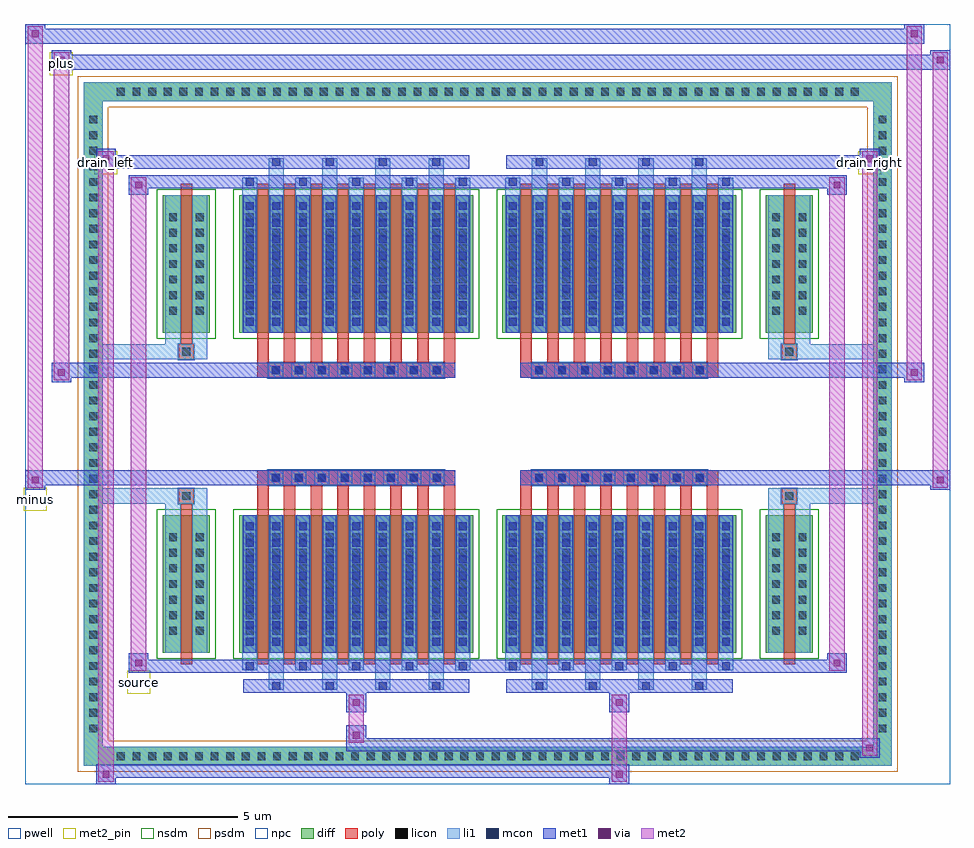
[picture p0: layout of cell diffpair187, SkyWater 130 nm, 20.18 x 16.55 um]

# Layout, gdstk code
import gdstk
lib = gdstk.Library(unit=1e-6, precision=5e-09)
def R(c, l, rs):  # rectangles x0, y0, x1, y1
    for r in rs: c.add(gdstk.rectangle(r[:2], r[2:], *l))
def A(c, l, x, y, w, h, nx, ny, dx, dy):  # array of equal rectangles
    R(c, l, [(x+i*dx, y+j*dy, x+i*dx+w, y+j*dy+h) for i in range(nx) for j in range(ny)])
def P(c, l, *ps):  # polygons
    for p in ps: c.add(gdstk.Polygon(p, *l))
pwell = (64, 44)
diff = (65, 20)
poly = (66, 20)
licon = (66, 44)
li1 = (67, 20)
mcon = (67, 44)
met1 = (68, 20)
via = (68, 44)
met2_pin = (69, 16)
met2 = (69, 20)
nsdm = (93, 44)
psdm = (94, 20)
npc = (95, 20)

diffpair187 = lib.new_cell('diffpair187')
R(diffpair187, pwell, [(-10.07,-7.84,10.07,8.71), (-7.39,-6.03,-0.01,-0.805), (0.01,-6.03,7.39,-0.805), (-7.39,0.805,-0.01,6.03), (0.01,0.805,7.39,6.03)])
A(diffpair187, diff, -8.195, -7.44, 0.41, 0.41, 48, 2, 0.34, 14.47)
A(diffpair187, diff, -8.8, -6.835, 0.41, 0.41, 1, 40, 0, 0.34)
A(diffpair187, diff, 8.39, -6.835, 0.41, 0.41, 1, 40, 0, 0.34)
R(diffpair187, diff, [(-8.195,-7.44,8.195,-7.03), (-8.8,-6.835,-8.39,6.835), (8.39,-6.835,8.8,6.835), (-7.08,-4.985,-6.05,-1.985), (-5.41,-4.985,-0.32,-1.985), (0.32,-4.985,5.41,-1.985), (6.05,-4.985,7.08,-1.985), (-7.08,1.985,-6.05,4.985), (-5.41,1.985,-0.32,4.985), (0.32,1.985,5.41,4.985), (6.05,1.985,7.08,4.985), (-8.195,7.03,8.195,7.44)])
P(diffpair187, diff, [(8.8,7.44),(-8.8,7.44),(-8.8,-7.03),(-8.39,-7.03),(-8.39,7.03),(8.39,7.03),(8.39,-7.03),(-8.39,-7.03),(-8.8,-7.03),(-8.8,-7.44),(8.8,-7.44)])
A(diffpair187, poly, -5.02, -5.235, 0.25, 3.5, 8, 2, 0.58, 6.97)
A(diffpair187, poly, 0.71, -5.235, 0.25, 3.5, 8, 2, 0.58, 6.97)
A(diffpair187, poly, -5.02, -1.735, 0.25, 0.4, 8, 2, 0.58, 3.07)
A(diffpair187, poly, 0.71, -1.735, 0.25, 0.4, 8, 2, 0.58, 3.07)
A(diffpair187, poly, -4.78, -1.335, 0.33, 0.33, 8, 2, 0.5, 2.34)
A(diffpair187, poly, 0.95, -1.335, 0.33, 0.33, 8, 2, 0.5, 2.34)
R(diffpair187, poly, [(-6.69,-5.235,-6.44,-1.735), (6.44,-5.235,6.69,-1.735), (-6.73,-1.735,-6.4,-1.405), (-6.73,-1.735,-6.4,-1.405), (6.4,-1.735,6.73,-1.405), (6.4,-1.735,6.73,-1.405), (-5.02,-1.335,-0.71,-1.005), (0.71,-1.335,5.02,-1.005), (-5.02,1.005,-0.71,1.335), (0.71,1.005,5.02,1.335), (-6.73,1.405,-6.4,1.735), (-6.73,1.405,-6.4,1.735), (6.4,1.405,6.73,1.735), (6.4,1.405,6.73,1.735), (-6.69,1.735,-6.44,5.235), (6.44,1.735,6.69,5.235)])
A(diffpair187, licon, -8.075, -7.32, 0.17, 0.17, 48, 2, 0.34, 14.47)
A(diffpair187, licon, -8.68, -6.715, 0.17, 0.17, 1, 40, 0, 0.34)
A(diffpair187, licon, 8.51, -6.715, 0.17, 0.17, 1, 40, 0, 0.34)
A(diffpair187, licon, -6.94, -4.59, 0.17, 0.17, 1, 7, 0, 0.34)
A(diffpair187, licon, -6.36, -4.59, 0.17, 0.17, 1, 7, 0, 0.34)
A(diffpair187, licon, -5.27, -4.59, 0.17, 0.17, 9, 7, 0.58, 0.34)
A(diffpair187, licon, 0.46, -4.59, 0.17, 0.17, 9, 7, 0.58, 0.34)
A(diffpair187, licon, 6.19, -4.59, 0.17, 0.17, 1, 7, 0, 0.34)
A(diffpair187, licon, 6.77, -4.59, 0.17, 0.17, 1, 7, 0, 0.34)
A(diffpair187, licon, -4.7, -1.255, 0.17, 0.17, 8, 2, 0.5, 2.34)
A(diffpair187, licon, 1.03, -1.255, 0.17, 0.17, 8, 2, 0.5, 2.34)
A(diffpair187, licon, -6.94, 2.38, 0.17, 0.17, 1, 7, 0, 0.34)
A(diffpair187, licon, -6.36, 2.38, 0.17, 0.17, 1, 7, 0, 0.34)
A(diffpair187, licon, -5.27, 2.38, 0.17, 0.17, 9, 7, 0.58, 0.34)
A(diffpair187, licon, 0.46, 2.38, 0.17, 0.17, 9, 7, 0.58, 0.34)
A(diffpair187, licon, 6.19, 2.38, 0.17, 0.17, 1, 7, 0, 0.34)
A(diffpair187, licon, 6.77, 2.38, 0.17, 0.17, 1, 7, 0, 0.34)
R(diffpair187, licon, [(-6.65,-1.655,-6.48,-1.485), (6.48,-1.655,6.65,-1.485), (-6.65,1.485,-6.48,1.655), (6.48,1.485,6.65,1.655)])
A(diffpair187, li1, -8.155, -7.4, 0.33, 0.33, 48, 2, 0.34, 14.47)
A(diffpair187, li1, -8.76, -6.795, 0.33, 0.33, 1, 40, 0, 0.34)
A(diffpair187, li1, 8.43, -6.795, 0.33, 0.33, 1, 40, 0, 0.34)
A(diffpair187, li1, -4.77, -5.79, 0.33, 0.805, 4, 2, 1.16, 10.775)
A(diffpair187, li1, -4.69, -5.79, 0.17, 0.17, 4, 2, 1.16, 11.41)
A(diffpair187, li1, 0.96, -5.79, 0.33, 0.805, 4, 2, 1.16, 10.775)
A(diffpair187, li1, 1.04, -5.79, 0.17, 0.17, 4, 2, 1.16, 11.41)
A(diffpair187, li1, -5.35, -5.36, 0.33, 0.375, 5, 2, 1.16, 10.345)
A(diffpair187, li1, -5.27, -5.36, 0.17, 0.17, 5, 2, 1.16, 10.55)
A(diffpair187, li1, 0.38, -5.36, 0.33, 0.375, 5, 2, 1.16, 10.345)
A(diffpair187, li1, 0.46, -5.36, 0.17, 0.17, 5, 2, 1.16, 10.55)
A(diffpair187, li1, -5.35, -4.985, 0.33, 3, 9, 2, 0.58, 6.97)
A(diffpair187, li1, 0.38, -4.985, 0.33, 3, 9, 2, 0.58, 6.97)
A(diffpair187, li1, -5.27, -4.83, 0.17, 0.17, 9, 8, 0.58, 0.36)
A(diffpair187, li1, -5.27, -4.83, 0.17, 2.69, 9, 2, 0.58, 6.97)
A(diffpair187, li1, 0.46, -4.83, 0.17, 0.17, 9, 8, 0.58, 0.36)
A(diffpair187, li1, 0.46, -4.83, 0.17, 2.69, 9, 2, 0.58, 6.97)
A(diffpair187, li1, -7.02, -4.67, 0.33, 0.33, 1, 7, 0, 0.34)
A(diffpair187, li1, -6.44, -4.67, 0.33, 0.33, 1, 7, 0, 0.34)
A(diffpair187, li1, -5.35, -4.67, 0.33, 0.33, 9, 7, 0.58, 0.34)
A(diffpair187, li1, 0.38, -4.67, 0.33, 0.33, 9, 7, 0.58, 0.34)
A(diffpair187, li1, 6.11, -4.67, 0.33, 0.33, 1, 7, 0, 0.34)
A(diffpair187, li1, 6.69, -4.67, 0.33, 0.33, 1, 7, 0, 0.34)
A(diffpair187, li1, -4.78, -1.335, 0.33, 0.33, 8, 2, 0.5, 2.34)
A(diffpair187, li1, 0.95, -1.335, 0.33, 0.33, 8, 2, 0.5, 2.34)
A(diffpair187, li1, -5.27, 2.14, 0.17, 0.17, 9, 8, 0.58, 0.36)
A(diffpair187, li1, 0.46, 2.14, 0.17, 0.17, 9, 8, 0.58, 0.36)
A(diffpair187, li1, -7.02, 2.3, 0.33, 0.33, 1, 7, 0, 0.34)
A(diffpair187, li1, -6.44, 2.3, 0.33, 0.33, 1, 7, 0, 0.34)
A(diffpair187, li1, -5.35, 2.3, 0.33, 0.33, 9, 7, 0.58, 0.34)
A(diffpair187, li1, 0.38, 2.3, 0.33, 0.33, 9, 7, 0.58, 0.34)
A(diffpair187, li1, 6.11, 2.3, 0.33, 0.33, 1, 7, 0, 0.34)
A(diffpair187, li1, 6.69, 2.3, 0.33, 0.33, 1, 7, 0, 0.34)
R(diffpair187, li1, [(-8.8,-7.44,-8.39,-7.03), (-8.8,-7.44,-8.39,-7.03), (-8.39,-7.44,8.39,-7.03), (8.39,-7.44,8.8,-7.03), (8.39,-7.44,8.8,-7.03), (-8.8,-7.03,-8.39,7.03), (8.39,-7.03,8.8,7.03), (-7.02,-4.985,-6.69,-1.985), (-6.44,-4.985,-6.11,-1.985), (6.11,-4.985,6.44,-1.985), (6.69,-4.985,7.02,-1.985), (-7.02,-1.985,-6.69,-1.405), (-6.44,-1.985,-6.11,-1.405), (6.11,-1.985,6.44,-1.405), (6.69,-1.985,7.02,-1.405), (-8.8,-1.735,-6.73,-1.405), (-7.02,-1.735,-6.73,-1.405), (-6.73,-1.735,-6.4,-1.405), (-6.4,-1.735,-6.11,-1.405), (6.11,-1.735,6.4,-1.405), (6.4,-1.735,6.73,-1.405), (6.4,-1.735,8.8,-1.405), (6.73,-1.735,7.02,-1.405), (-8.8,1.405,-6.73,1.735), (-7.02,1.405,-6.73,1.735), (-7.02,1.405,-6.69,1.985), (-6.73,1.405,-6.4,1.735), (-6.44,1.405,-6.11,1.985), (-6.4,1.405,-6.11,1.735), (6.11,1.405,6.4,1.735), (6.11,1.405,6.44,1.985), (6.4,1.405,6.73,1.735), (6.4,1.405,8.8,1.735), (6.69,1.405,7.02,1.985), (6.73,1.405,7.02,1.735), (-7.02,1.985,-6.69,4.985), (-6.44,1.985,-6.11,4.985), (6.11,1.985,6.44,4.985), (6.69,1.985,7.02,4.985), (-8.8,7.03,-8.39,7.44), (-8.8,7.03,-8.39,7.44), (-8.39,7.03,8.39,7.44), (8.39,7.03,8.8,7.44), (8.39,7.03,8.8,7.44)])
A(diffpair187, mcon, -4.69, -5.79, 0.17, 0.17, 4, 2, 1.16, 11.41)
A(diffpair187, mcon, 1.04, -5.79, 0.17, 0.17, 4, 2, 1.16, 11.41)
A(diffpair187, mcon, -5.27, -5.36, 0.17, 0.17, 5, 2, 1.16, 10.55)
A(diffpair187, mcon, 0.46, -5.36, 0.17, 0.17, 5, 2, 1.16, 10.55)
A(diffpair187, mcon, -5.27, -4.83, 0.17, 0.17, 9, 8, 0.58, 0.36)
A(diffpair187, mcon, 0.46, -4.83, 0.17, 0.17, 9, 8, 0.58, 0.36)
A(diffpair187, mcon, -4.7, -1.255, 0.17, 0.17, 8, 2, 0.5, 2.34)
A(diffpair187, mcon, 1.03, -1.255, 0.17, 0.17, 8, 2, 0.5, 2.34)
A(diffpair187, mcon, -5.27, 2.14, 0.17, 0.17, 9, 8, 0.58, 0.36)
A(diffpair187, mcon, 0.46, 2.14, 0.17, 0.17, 9, 8, 0.58, 0.36)
A(diffpair187, met1, -4.75, -5.85, 0.29, 0.29, 4, 2, 1.16, 11.41)
A(diffpair187, met1, 0.98, -5.85, 0.29, 0.29, 4, 2, 1.16, 11.41)
A(diffpair187, met1, -5.33, -5.42, 0.29, 0.29, 5, 2, 1.16, 10.55)
A(diffpair187, met1, 0.4, -5.42, 0.29, 0.29, 5, 2, 1.16, 10.55)
A(diffpair187, met1, -5.33, -4.985, 0.29, 3, 9, 2, 0.58, 6.97)
A(diffpair187, met1, 0.4, -4.985, 0.29, 3, 9, 2, 0.58, 6.97)
A(diffpair187, met1, -5.33, -4.89, 0.29, 0.29, 9, 8, 0.58, 0.36)
A(diffpair187, met1, 0.4, -4.89, 0.29, 0.29, 9, 8, 0.58, 0.36)
A(diffpair187, met1, -4.76, -1.315, 0.29, 0.29, 8, 2, 0.5, 2.34)
A(diffpair187, met1, 0.97, -1.315, 0.29, 0.29, 8, 2, 0.5, 2.34)
A(diffpair187, met1, -5.33, 2.08, 0.29, 0.29, 9, 8, 0.58, 0.36)
A(diffpair187, met1, 0.4, 2.08, 0.29, 0.29, 9, 8, 0.58, 0.36)
R(diffpair187, met1, [(-8.53,-7.84,-8.1,-7.41), (2.65,-7.84,3.08,-7.41), (-8.53,-7.7,3.08,-7.41), (8.1,-7.27,8.53,-6.84), (-3.08,-7.13,8.53,-6.84), (-3.08,-6.99,-2.65,-6.56), (-3.08,-6.28,-2.65,-5.85), (2.65,-6.28,3.08,-5.85), (-5.33,-5.85,-0.4,-5.56), (0.4,-5.85,5.33,-5.56), (-7.82,-5.42,-7.39,-4.99), (-7.82,-5.42,-5.33,-5.13), (-5.33,-5.42,-0.4,-5.13), (-0.4,-5.42,0.4,-5.13), (0.4,-5.42,5.33,-5.13), (5.33,-5.42,7.82,-5.13), (7.39,-5.42,7.82,-4.99), (-10.07,-1.435,-9.64,-1.005), (9.64,-1.435,10.07,-1.005), (-10.07,-1.335,-0.71,-1.005), (-5.02,-1.335,-0.71,-1.005), (0.71,-1.335,5.02,-1.005), (0.71,-1.335,10.07,-1.005), (-9.5,0.905,-9.07,1.335), (9.07,0.905,9.5,1.335), (-9.5,1.005,-5.02,1.335), (-5.02,1.005,-0.71,1.335), (0.71,1.005,5.02,1.335), (5.02,1.005,9.5,1.335), (-7.82,4.99,-7.39,5.42), (7.39,4.99,7.82,5.42), (-7.82,5.13,-5.33,5.42), (-5.33,5.13,-0.4,5.42), (-0.4,5.13,0.4,5.42), (0.4,5.13,5.33,5.42), (5.33,5.13,7.82,5.42), (-8.53,5.56,-8.1,5.99), (-8.53,5.56,-5.33,5.85), (-5.33,5.56,-0.4,5.85), (0.4,5.56,5.33,5.85), (5.33,5.56,8.53,5.85), (8.1,5.56,8.53,5.99), (-9.5,7.71,-9.07,8.14), (-9.5,7.71,-7.39,8.04), (-7.39,7.71,7.39,8.04), (7.39,7.71,10.07,8.04), (9.64,7.71,10.07,8.14), (-10.07,8.28,-9.64,8.71), (-10.07,8.28,-7.39,8.61), (-7.39,8.28,7.39,8.61), (7.39,8.28,9.5,8.61), (9.07,8.28,9.5,8.71)])
R(diffpair187, via, [(-8.39,-7.7,-8.24,-7.55), (2.79,-7.7,2.94,-7.55), (8.24,-7.13,8.39,-6.98), (-2.94,-6.85,-2.79,-6.7), (-2.94,-6.14,-2.79,-5.99), (2.79,-6.14,2.94,-5.99), (-7.68,-5.28,-7.53,-5.13), (7.53,-5.28,7.68,-5.13), (-9.93,-1.295,-9.78,-1.145), (9.78,-1.295,9.93,-1.145), (-9.36,1.045,-9.21,1.195), (9.21,1.045,9.36,1.195), (-7.68,5.13,-7.53,5.28), (7.53,5.13,7.68,5.28), (-8.39,5.7,-8.24,5.85), (8.24,5.7,8.39,5.85), (-9.36,7.85,-9.21,8), (9.78,7.85,9.93,8), (-9.93,8.42,-9.78,8.57), (9.21,8.42,9.36,8.57)])
R(diffpair187, met2_pin, [(-7.855,-5.87,-7.355,-5.37), (-10.105,-1.885,-9.605,-1.385), (-8.565,5.44,-8.065,5.94), (8.065,5.44,8.565,5.94), (-9.535,7.59,-9.035,8.09)])
R(diffpair187, met2, [(-8.48,-7.79,-8.15,-7.46), (-8.48,-7.79,-8.15,5.94), (2.7,-7.79,3.03,-7.46), (2.7,-7.46,3.03,-6.23), (8.15,-7.22,8.48,-6.89), (8.15,-7.22,8.48,5.94), (-3.03,-6.94,-2.7,-6.61), (-3.03,-6.61,-2.7,-6.23), (-3.03,-6.23,-2.7,-5.9), (2.7,-6.23,3.03,-5.9), (-7.77,-5.37,-7.44,-5.04), (-7.77,-5.37,-7.44,5.37), (7.44,-5.37,7.77,-5.04), (7.44,-5.37,7.77,5.37), (-10.02,-1.385,-9.69,-1.055), (-10.02,-1.385,-9.69,8.66), (9.69,-1.385,10.02,-1.055), (9.69,-1.385,10.02,8.09), (-9.45,0.955,-9.12,1.285), (-9.45,0.955,-9.12,8.09), (9.12,0.955,9.45,1.285), (9.12,0.955,9.45,8.66), (-7.77,5.04,-7.44,5.37), (7.44,5.04,7.77,5.37), (-8.48,5.61,-8.15,5.94), (8.15,5.61,8.48,5.94), (-9.45,7.76,-9.12,8.09), (9.69,7.76,10.02,8.09), (-10.02,8.33,-9.69,8.66), (9.12,8.33,9.45,8.66)])
P(diffpair187, met2, [(10.02,-1.385),(10.02,-1.385),(10.02,-1.055),(10.02,-1.055)],
  [(10.02,7.76),(10.02,7.76),(10.02,8.09),(10.02,8.09)],
  [(-9.69,-1.385),(-9.69,-1.385),(-9.69,-1.055),(-9.69,-1.055)],
  [(-9.69,8.33),(-9.69,8.33),(-9.69,8.66),(-9.69,8.66)],
  [(9.45,0.955),(9.45,0.955),(9.45,1.285),(9.45,1.285)],
  [(9.45,8.33),(9.45,8.33),(9.45,8.66),(9.45,8.66)],
  [(-9.12,0.955),(-9.12,0.955),(-9.12,1.285),(-9.12,1.285)],
  [(-9.12,7.76),(-9.12,7.76),(-9.12,8.09),(-9.12,8.09)],
  [(-8.15,-7.79),(-8.15,-7.79),(-8.15,-7.46),(-8.15,-7.46)],
  [(-8.15,5.61),(-8.15,5.61),(-8.15,5.94),(-8.15,5.94)],
  [(8.48,-7.22),(8.48,-7.22),(8.48,-6.89),(8.48,-6.89)],
  [(8.48,5.61),(8.48,5.61),(8.48,5.94),(8.48,5.94)],
  [(-7.44,-5.37),(-7.44,-5.37),(-7.44,-5.04),(-7.44,-5.04)],
  [(-7.44,5.04),(-7.44,5.04),(-7.44,5.37),(-7.44,5.37)],
  [(7.77,-5.37),(7.77,-5.37),(7.77,-5.04),(7.77,-5.04)],
  [(7.77,5.04),(7.77,5.04),(7.77,5.37),(7.77,5.37)])
R(diffpair187, nsdm, [(-7.21,-5.115,-5.92,-1.855), (-5.54,-5.115,-0.19,-1.855), (0.19,-5.115,5.54,-1.855), (5.92,-5.115,7.21,-1.855), (-7.21,1.855,-5.92,5.115), (-5.54,1.855,-0.19,5.115), (0.19,1.855,5.54,5.115), (5.92,1.855,7.21,5.115)])
P(diffpair187, psdm, [(8.93,7.57),(-8.93,7.57),(-8.93,-6.9),(-8.26,-6.9),(-8.26,6.9),(8.26,6.9),(8.26,-6.9),(-8.26,-6.9),(-8.93,-6.9),(-8.93,-7.57),(8.93,-7.57)])
A(diffpair187, npc, -4.8, -1.355, 0.37, 0.37, 8, 2, 0.5, 2.34)
A(diffpair187, npc, 0.93, -1.355, 0.37, 0.37, 8, 2, 0.5, 2.34)
R(diffpair187, npc, [(-6.75,-1.755,-6.38,-1.385), (6.38,-1.755,6.75,-1.385), (-4.8,-1.355,-3.93,-0.985), (-4.8,-1.355,-3.93,-0.985), (-4.3,-1.355,-3.43,-0.985), (-4.3,-1.355,-3.43,-0.985), (-3.8,-1.355,-2.93,-0.985), (-3.8,-1.355,-2.93,-0.985), (-3.3,-1.355,-2.43,-0.985), (-3.3,-1.355,-2.43,-0.985), (-2.8,-1.355,-1.93,-0.985), (-2.8,-1.355,-1.93,-0.985), (-2.3,-1.355,-1.43,-0.985), (-2.3,-1.355,-1.43,-0.985), (-1.8,-1.355,-0.93,-0.985), (-1.8,-1.355,-0.93,-0.985), (0.93,-1.355,1.8,-0.985), (0.93,-1.355,1.8,-0.985), (1.43,-1.355,2.3,-0.985), (1.43,-1.355,2.3,-0.985), (1.93,-1.355,2.8,-0.985), (1.93,-1.355,2.8,-0.985), (2.43,-1.355,3.3,-0.985), (2.43,-1.355,3.3,-0.985), (2.93,-1.355,3.8,-0.985), (2.93,-1.355,3.8,-0.985), (3.43,-1.355,4.3,-0.985), (3.43,-1.355,4.3,-0.985), (3.93,-1.355,4.8,-0.985), (3.93,-1.355,4.8,-0.985), (-4.8,0.985,-3.93,1.355), (-4.8,0.985,-3.93,1.355), (-4.3,0.985,-3.43,1.355), (-4.3,0.985,-3.43,1.355), (-3.8,0.985,-2.93,1.355), (-3.8,0.985,-2.93,1.355), (-3.3,0.985,-2.43,1.355), (-3.3,0.985,-2.43,1.355), (-2.8,0.985,-1.93,1.355), (-2.8,0.985,-1.93,1.355), (-2.3,0.985,-1.43,1.355), (-2.3,0.985,-1.43,1.355), (-1.8,0.985,-0.93,1.355), (-1.8,0.985,-0.93,1.355), (0.93,0.985,1.8,1.355), (0.93,0.985,1.8,1.355), (1.43,0.985,2.3,1.355), (1.43,0.985,2.3,1.355), (1.93,0.985,2.8,1.355), (1.93,0.985,2.8,1.355), (2.43,0.985,3.3,1.355), (2.43,0.985,3.3,1.355), (2.93,0.985,3.8,1.355), (2.93,0.985,3.8,1.355), (3.43,0.985,4.3,1.355), (3.43,0.985,4.3,1.355), (3.93,0.985,4.8,1.355), (3.93,0.985,4.8,1.355), (-6.75,1.385,-6.38,1.755), (6.38,1.385,6.75,1.755)])
diffpair187.add(gdstk.Label('minus', (-9.855,-1.635), layer=69, texttype=5))
diffpair187.add(gdstk.Label('drain_right', (8.315,5.69), layer=69, texttype=5))
diffpair187.add(gdstk.Label('drain_left', (-8.315,5.69), layer=69, texttype=5))
diffpair187.add(gdstk.Label('source', (-7.605,-5.62), layer=69, texttype=5))
diffpair187.add(gdstk.Label('plus', (-9.285,7.84), layer=69, texttype=5))

lib.write_gds('diffpair187.gds')
